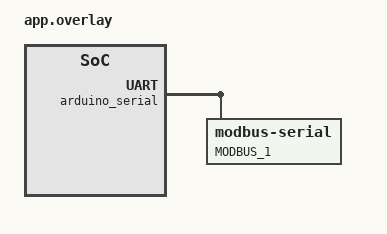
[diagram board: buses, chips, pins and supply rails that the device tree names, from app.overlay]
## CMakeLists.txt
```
# SPDX-License-Identifier: Apache-2.0

cmake_minimum_required(VERSION 3.20.0)
find_package(Zephyr REQUIRED HINTS $ENV{ZEPHYR_BASE})
project(pzem004t)

FILE(GLOB app_sources src/*.c)
target_sources(app PRIVATE ${app_sources})
zephyr_include_directories(${CMAKE_CURRENT_SOURCE_DIR})
```

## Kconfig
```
mainmenu "PZEM004T Sensor Sample Application"

config READ_MEASUREMENT_VALUES
	bool "Build sample for reading measurement values"
	default n
	help
	  Build the sample application for reading measurement values from the
	  PZEM004T sensor. This sample demonstrates how to read and display
	  various measurement values such as voltage, current, power, and energy.

config READ_SENSOR_PARAMETERS
	bool "Build sample for reading sensor parameters"
	default n
	help
	  Build the sample application for reading sensor parameters from the
	  PZEM004T sensor. This sample demonstrates how to read and display
	  sensor parameters power alarm threshold and modbus rtu address.

config SET_SENSOR_PARAMETERS
	bool "Build sample for setting sensor parameters"
	default n
	help
	  Build the sample application for setting sensor parameters on the
	  PZEM004T sensor. This sample demonstrates how to set sensor parameters
	  such as power alarm threshold and modbus rtu modbus address.

config RESET_ENERGY
	bool "Build sample for setting sensor parameters"
	default n
	help
	  Build the sample application for setting sensor parameters on the
	  PZEM004T sensor. This sample demonstrates how to set sensor parameters
	  such as power alarm threshold and modbus rtu modbus address.
source "Kconfig.zephyr"
```

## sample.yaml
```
sample:
  name: PZEM004T Sensor Sample
tests:
  sample.sensor.pzem004t:
    build_only: true
    platform_allow: nucleo_g071rb
    integration_platforms:
      - nucleo_g071rb
    tags: sensors
```

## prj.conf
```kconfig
CONFIG_LOG=y
CONFIG_SENSOR=y
CONFIG_PZEM004T_ENABLE_RESET_ENERGY=y
CONFIG_SENSOR_LOG_LEVEL_ERR=y
```

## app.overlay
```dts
/*
 * Copyright (c) 2025, Srishtik Bhandarkar
 *
 * SPDX-License-Identifier: Apache-2.0
 */

/ {
	aliases {
		pzem004t2 = &pzem004t2;
		pzem004t1 = &pzem004t1; 
	};
};

&arduino_serial {
    status = "okay";

    modbus1: modbus1 {
        compatible = "zephyr,modbus-serial";
        status = "okay";
		label = "MODBUS_1";

		pzem004t1: pzem004t1 {
            compatible = "peacefair,pzem004t";
            modbus-address = <0xf8>;  // Modbus address
        };

		pzem004t2: pzem004t2 {
            compatible = "peacefair,pzem004t";
            modbus-address = <0x01>;  // Modbus address
        };
    };
};
```

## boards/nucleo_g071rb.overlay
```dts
/*
 * Copyright (c) 2025, Srishtik Bhandarkar
 *
 * SPDX-License-Identifier: Apache-2.0
 */

/ {
    aliases {
        pzem004t = &pzem004t;
    };
};

&arduino_serial {
    status = "okay";

    modbus: modbus {
        compatible = "zephyr,modbus-serial";
        status = "okay";
        label = "MODBUS_1";

        pzem004t: pzem004t {
            compatible = "peacefair,pzem004t";
            modbus-address = <0xf8>;  // Modbus address
        };
    };
};
```

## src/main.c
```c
#include <zephyr/kernel.h>
#include <zephyr/device.h>
#include <zephyr/drivers/sensor.h>
#include <zephyr/drivers/sensor/pzem004t.h>


int main(void)
{
	const struct device *const dev = DEVICE_DT_GET(DT_ALIAS(pzem004t));

	if (!device_is_ready(dev)) {
		printk("Device %s is not ready\n", dev->name);
		return -ENODEV;
	}

	int ret;

	#if CONFIG_READ_MEASUREMENT_VALUES
	struct sensor_value voltage;
	struct sensor_value current;
	struct sensor_value power;
	struct sensor_value frequency;
	struct sensor_value energy;
	struct sensor_value power_factor;
	struct sensor_value alarm_status;
	#endif // READ_MEASUREMENT_VALUES

	#if CONFIG_READ_SENSOR_PARAMETERS

	struct sensor_value power_alarm_threshold;
	struct sensor_value modbus_rtu_address;

	#endif // READ_SENSOR_PARAMETERS

	#if CONFIG_SET_SENSOR_PARAMETERS
	struct sensor_value power_alarm_threshold_set = {
		.val1 = 1000,
		.val2 = 0
	};

	struct sensor_value modbus_rtu_address_set = {
		.val1 = 0x01,
		.val2 = 0
	};

	#endif // CONFIG_SET_SENSOR_PARAMETERS

	while (1) {
		#if CONFIG_READ_MEASUREMENT_VALUES
		/* Fetch the latest sample from the sensor */
		ret = sensor_sample_fetch(dev);
		if (ret) {
			printk("Failed to fetch sensor data: %d\n", ret);
		}

		ret = sensor_channel_get(dev, SENSOR_CHAN_VOLTAGE, &voltage);
		if (ret) {
			printk("Failed to get voltage: %d\n", ret);
		}
		else{
			printk("Voltage: %d.%d V\n", voltage.val1, voltage.val2);
		}
		

		ret = sensor_channel_get(dev, SENSOR_CHAN_CURRENT, &current);
		if (ret) {
			printk("Failed to get current: %d\n", ret);
		}
		else{
			printk("Current: %d.%d A\n", current.val1, current.val2);
		}


		ret = sensor_channel_get(dev, SENSOR_CHAN_POWER, &power);
		if (ret) {
			printk("Failed to get power: %d\n", ret);
		}
		else{
			printk("Power: %d.%d W\n", power.val1, power.val2);
		}

		ret = sensor_channel_get(dev, SENSOR_CHAN_FREQUENCY, &frequency);
		if (ret) {
			printk("Failed to get frequency: %d\n", ret);
		}
		else{
			printk("Frequency: %d.%d Hz\n", frequency.val1, frequency.val2);
		}


		ret = sensor_channel_get(dev, SENSOR_CHAN_ENERGY, &energy);
		if (ret) {
			printk("Failed to get energy: %d\n", ret);
		}
		else{
			printk("Energy: %d.%d Wh\n", energy.val1, energy.val2);
		}

		ret = sensor_channel_get(dev, SENSOR_CHAN_POWER_FACTOR, &power_factor);
		if (ret) {
			printk("Failed to get power factor: %d\n", ret);
		}
		else{
			printk("Power Factor: %d.%d\n", power_factor.val1, power_factor.val2);
		}

		ret = sensor_channel_get(dev, SENSOR_CHAN_ALARM_STATUS, &alarm_status);
		if (ret) {
			printk("Failed to get alarm status: %d\n", ret);
		}
		else{
			printk("Alarm Status: %d\n\n", alarm_status.val1);
		}

		k_msleep(1000);

		#endif // READ_MEASUREMENT_VALUES
		
		#if CONFIG_READ_SENSOR_PARAMETERS
		ret = sensor_attr_get(dev, SENSOR_CHAN_POWER_ALARM_THRESHOLD,
				      SENSOR_ATTR_POWER_ALARM_THRESHOLD, &power_alarm_threshold);
		if (ret) {
			printk("Failed to get power alarm threshold: %d\n", ret);
		}
		else{
			printk("Power Alarm Threshold: %d W\n", power_alarm_threshold.val1);
		}

		ret = sensor_attr_get(dev, SENSOR_CHAN_MODBUS_RTU_ADDRESS,
				      SENSOR_ATTR_MODBUS_RTU_ADDRESS, &modbus_rtu_address);
		if (ret) {
			printk("Failed to get Modbus RTU address: %d\n", ret);
		}
		else{
			printk("Modbus RTU Address: 0x%02x\n", modbus_rtu_address.val1);
			return 0;
		}
		return 0;

		#endif // READ_SENSOR_PARAMETERS

		#if CONFIG_SET_SENSOR_PARAMETERS
		
		ret = sensor_attr_set(dev, SENSOR_CHAN_POWER_ALARM_THRESHOLD,
				SENSOR_ATTR_POWER_ALARM_THRESHOLD,
				&power_alarm_threshold_set);

		if (ret) {
			printk("Failed to set power alarm threshold: %d\n", ret);
		}
		else{
			printk("Power alarm threshold set to: %d W\n", power_alarm_threshold_set.val1);
		}

		ret = sensor_attr_set(dev, SENSOR_CHAN_MODBUS_RTU_ADDRESS,
					SENSOR_ATTR_MODBUS_RTU_ADDRESS, &modbus_rtu_address_set);

		if (ret) {
			printk("Failed to set Modbus RTU address: %d\n", ret);
		}
		else{
			printk("Modbus RTU address set to: 0x%02x\n", modbus_rtu_address_set.val1);
		}
		return 0;
		#endif // CONFIG_SET_SENSOR_PARAMETERS

		#if CONFIG_RESET_ENERGY
		ret = sensor_attr_set(dev, SENSOR_CHAN_RESET_ENERGY,
				SENSOR_ATTR_RESET_ENERGY, NULL);
		if (ret) {
			printk("Failed to reset energy: %d\n", ret);
		}
		else{
			printk("Energy reset successfully\n");
		}
		return 0;
		#endif // CONFIG_RESET_ENERGY
	}

	return 0;
}
```
